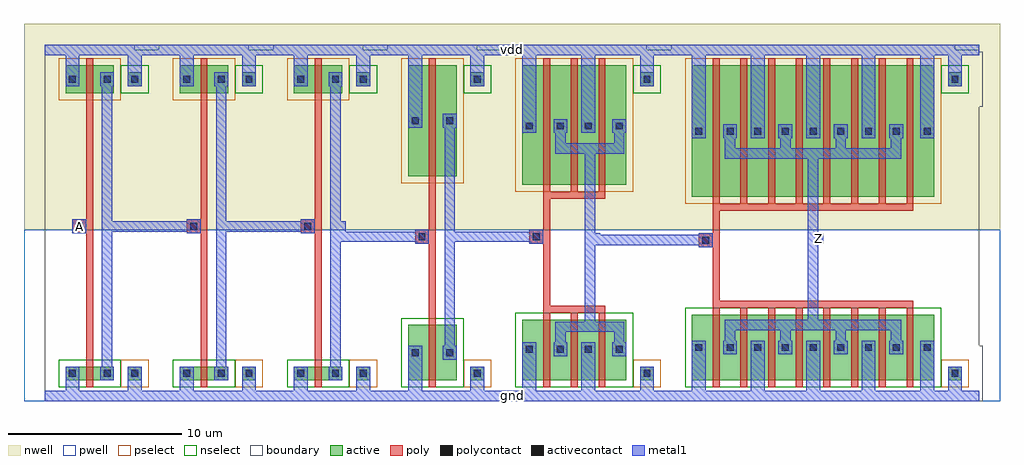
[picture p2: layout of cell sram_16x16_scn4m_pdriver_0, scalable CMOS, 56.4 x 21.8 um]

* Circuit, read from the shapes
.subckt sram_16x16_scn4m_pdriver_0 A Z gnd vdd
M1 sram_16x16_scn4m_pinv_5_1/A A gnd gnd nfet w=0.8u l=0.4u
M2 sram_16x16_scn4m_pinv_5_2/A sram_16x16_scn4m_pinv_5_1/A gnd gnd nfet w=0.8u l=0.4u
M3 sram_16x16_scn4m_pinv_6_3/A sram_16x16_scn4m_pinv_5_2/A gnd gnd nfet w=0.8u l=0.4u
M4 sram_16x16_scn4m_pinv_7_4/A sram_16x16_scn4m_pinv_6_3/A gnd gnd nfet w=3.2u l=0.4u
M5 sram_16x16_scn4m_pinv_8_5/A sram_16x16_scn4m_pinv_7_4/A gnd gnd nfet w=3.5u l=0.4u m=3
M6 Z sram_16x16_scn4m_pinv_8_5/A gnd gnd nfet w=3.8u l=0.4u m=8
M7 sram_16x16_scn4m_pinv_5_1/A A vdd vdd pfet w=1.6u l=0.4u
M8 sram_16x16_scn4m_pinv_5_2/A sram_16x16_scn4m_pinv_5_1/A vdd vdd pfet w=1.6u l=0.4u
M9 sram_16x16_scn4m_pinv_6_3/A sram_16x16_scn4m_pinv_5_2/A vdd vdd pfet w=1.6u l=0.4u
M10 sram_16x16_scn4m_pinv_7_4/A sram_16x16_scn4m_pinv_6_3/A vdd vdd pfet w=6.4u l=0.4u
M11 sram_16x16_scn4m_pinv_8_5/A sram_16x16_scn4m_pinv_7_4/A vdd vdd pfet w=6.9u l=0.4u m=3
M12 Z sram_16x16_scn4m_pinv_8_5/A vdd vdd pfet w=7.6u l=0.4u m=8
.ends

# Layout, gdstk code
import gdstk
lib = gdstk.Library(unit=1e-6, precision=1e-09)
def R(c, l, rs):  # rectangles x0, y0, x1, y1
    for r in rs: c.add(gdstk.rectangle(r[:2], r[2:], *l))
def A(c, l, x, y, w, h, nx, ny, dx, dy):  # array of equal rectangles
    R(c, l, [(x+i*dx, y+j*dy, x+i*dx+w, y+j*dy+h) for i in range(nx) for j in range(ny)])
pwell = (41, 0)
nwell = (42, 0)
active = (43, 0)
pselect = (44, 0)
nselect = (45, 0)
poly = (46, 0)
polycontact = (47, 0)
activecontact = (48, 0)
metal1 = (49, 0)
boundary = (63, 0)

sram_16x16_scn4m_contact = lib.new_cell('sram_16x16_scn4m_contact_12')
R(sram_16x16_scn4m_contact, nwell, [(-1.2,-1.2,2,2)])
R(sram_16x16_scn4m_contact, active, [(0,0,0.8,0.8)])
R(sram_16x16_scn4m_contact, pselect, [(-0.4,-0.4,1.2,1.2)])
R(sram_16x16_scn4m_contact, activecontact, [(0.2,0.2,0.6,0.6)])
R(sram_16x16_scn4m_contact, metal1, [(0,0,0.8,0.8)])
R(sram_16x16_scn4m_contact, boundary, [(-1.2,-1.2,2,2)])

sram_16x16_scn4m_pmos_m1 = lib.new_cell('sram_16x16_scn4m_pmos_m1_w1_600_sm1_dm1_da_p')
R(sram_16x16_scn4m_pmos_m1, nwell, [(-1.2,-1.2,4,2.8)])
R(sram_16x16_scn4m_pmos_m1, active, [(0,0,2.8,1.6)])
R(sram_16x16_scn4m_pmos_m1, pselect, [(-0.4,-0.4,3.2,2)])
R(sram_16x16_scn4m_pmos_m1, poly, [(1.2,-0.4,1.6,2), (1.2,-0.4,1.6,2)])
R(sram_16x16_scn4m_pmos_m1, metal1, [(0,0.4,0.8,1.2), (2,0.4,2.8,1.2)])
R(sram_16x16_scn4m_pmos_m1, boundary, [(-1.2,-1.2,4,2.8)])
sram_16x16_scn4m_pmos_m1.add(gdstk.Reference(sram_16x16_scn4m_contact, (0,0.4)))
sram_16x16_scn4m_pmos_m1.add(gdstk.Reference(sram_16x16_scn4m_contact, (2,0.4)))
sram_16x16_scn4m_pmos_m1.add(gdstk.Label('G', (1.4,0.8), layer=46, texttype=0))
sram_16x16_scn4m_pmos_m1.add(gdstk.Label('S', (0.4,0.8), layer=49, texttype=0))
sram_16x16_scn4m_pmos_m1.add(gdstk.Label('D', (2.4,0.8), layer=49, texttype=0))

c_sram_16x16_scn4m_contact = lib.new_cell('sram_16x16_scn4m_contact_11')
R(c_sram_16x16_scn4m_contact, pwell, [(-1.2,-1.2,2,2)])
R(c_sram_16x16_scn4m_contact, active, [(0,0,0.8,0.8)])
R(c_sram_16x16_scn4m_contact, nselect, [(-0.4,-0.4,1.2,1.2)])
R(c_sram_16x16_scn4m_contact, activecontact, [(0.2,0.2,0.6,0.6)])
R(c_sram_16x16_scn4m_contact, metal1, [(0,0,0.8,0.8)])
R(c_sram_16x16_scn4m_contact, boundary, [(-1.2,-1.2,2,2)])

sram_16x16_scn4m_nmos_m1 = lib.new_cell('sram_16x16_scn4m_nmos_m1_w0_800_sm1_dm1_da_p')
R(sram_16x16_scn4m_nmos_m1, pwell, [(-1.2,-1.2,4,2)])
R(sram_16x16_scn4m_nmos_m1, active, [(0,0,2.8,0.8)])
R(sram_16x16_scn4m_nmos_m1, nselect, [(-0.4,-0.4,3.2,1.2)])
R(sram_16x16_scn4m_nmos_m1, poly, [(1.2,-0.4,1.6,1.2), (1.2,-0.4,1.6,1.2)])
R(sram_16x16_scn4m_nmos_m1, metal1, [(0,0,0.8,0.8), (2,0,2.8,0.8)])
R(sram_16x16_scn4m_nmos_m1, boundary, [(-1.2,-1.2,4,2)])
sram_16x16_scn4m_nmos_m1.add(gdstk.Reference(c_sram_16x16_scn4m_contact, (0,0)))
sram_16x16_scn4m_nmos_m1.add(gdstk.Reference(c_sram_16x16_scn4m_contact, (2,0)))
sram_16x16_scn4m_nmos_m1.add(gdstk.Label('G', (1.4,0.4), layer=46, texttype=0))
sram_16x16_scn4m_nmos_m1.add(gdstk.Label('S', (0.4,0.4), layer=49, texttype=0))
sram_16x16_scn4m_nmos_m1.add(gdstk.Label('D', (2.4,0.4), layer=49, texttype=0))

c_sram_16x16_scn4m_contact_ = lib.new_cell('sram_16x16_scn4m_contact_13')
R(c_sram_16x16_scn4m_contact_, nwell, [(-1.2,-1.2,2,2)])
R(c_sram_16x16_scn4m_contact_, active, [(0,0,0.8,0.8)])
R(c_sram_16x16_scn4m_contact_, nselect, [(-0.4,-0.4,1.2,1.2)])
R(c_sram_16x16_scn4m_contact_, activecontact, [(0.2,0.2,0.6,0.6)])
R(c_sram_16x16_scn4m_contact_, metal1, [(0,0,0.8,0.8)])
R(c_sram_16x16_scn4m_contact_, boundary, [(-1.2,-1.2,2,2)])

c_sram_16x16_scn4m_contact__ = lib.new_cell('sram_16x16_scn4m_contact_14')
R(c_sram_16x16_scn4m_contact__, pwell, [(-1.2,-1.2,2,2)])
R(c_sram_16x16_scn4m_contact__, active, [(0,0,0.8,0.8)])
R(c_sram_16x16_scn4m_contact__, pselect, [(-0.4,-0.4,1.2,1.2)])
R(c_sram_16x16_scn4m_contact__, activecontact, [(0.2,0.2,0.6,0.6)])
R(c_sram_16x16_scn4m_contact__, metal1, [(0,0,0.8,0.8)])
R(c_sram_16x16_scn4m_contact__, boundary, [(-1.2,-1.2,2,2)])

c_sram_16x16_scn4m_contact___ = lib.new_cell('sram_16x16_scn4m_contact_15')
R(c_sram_16x16_scn4m_contact___, poly, [(0,0,0.8,0.8)])
R(c_sram_16x16_scn4m_contact___, polycontact, [(0.2,0.2,0.6,0.6)])
R(c_sram_16x16_scn4m_contact___, metal1, [(0,0,0.8,0.8)])
R(c_sram_16x16_scn4m_contact___, boundary, [(0,0,0.8,0.8)])

sram_16x16_scn4m_pinv_5 = lib.new_cell('sram_16x16_scn4m_pinv_5')
R(sram_16x16_scn4m_pinv_5, pwell, [(-1.2,-0.3,7.8,9.6)])
R(sram_16x16_scn4m_pinv_5, nwell, [(-1.2,9.6,7.8,21.5)])
R(sram_16x16_scn4m_pinv_5, poly, [(2.4,2.1,2.8,17.1), (2,9.4,2.4,10.2)])
R(sram_16x16_scn4m_pinv_5, metal1, [(0,-0.3,6.6,0.3), (1.2,-0.3,2,0.9), (4.8,0,5.6,1.3), (3.3,0.9,3.9,18.7), (1.6,9.4,2.4,10.2), (3.6,9.5,4.2,10.1), (1.2,17.9,2,20.3), (4.8,18.3,5.6,20), (0,19.7,6.6,20.3)])
R(sram_16x16_scn4m_pinv_5, boundary, [(0,0,6.6,20), (0,0,6.6,20)])
sram_16x16_scn4m_pinv_5.add(gdstk.Reference(sram_16x16_scn4m_pmos_m1, (1.2,17.5)))
sram_16x16_scn4m_pinv_5.add(gdstk.Reference(sram_16x16_scn4m_nmos_m1, (1.2,0.9)))
sram_16x16_scn4m_pinv_5.add(gdstk.Reference(c_sram_16x16_scn4m_contact_, (4.8,17.9)))
sram_16x16_scn4m_pinv_5.add(gdstk.Reference(c_sram_16x16_scn4m_contact__, (4.8,0.9)))
sram_16x16_scn4m_pinv_5.add(gdstk.Reference(c_sram_16x16_scn4m_contact___, (1.6,9.4)))
sram_16x16_scn4m_pinv_5.add(gdstk.Label('A', (2,9.8), layer=49, texttype=0))
sram_16x16_scn4m_pinv_5.add(gdstk.Label('Z', (3.9,9.8), layer=49, texttype=0))
sram_16x16_scn4m_pinv_5.add(gdstk.Label('gnd', (3.3,0), layer=49, texttype=0))
sram_16x16_scn4m_pinv_5.add(gdstk.Label('vdd', (3.3,20), layer=49, texttype=0))

c_sram_16x16_scn4m_pmos_m1 = lib.new_cell('sram_16x16_scn4m_pmos_m1_w6_400_sm1_dm1_da_p')
R(c_sram_16x16_scn4m_pmos_m1, nwell, [(-1.2,-1.2,4,7.6)])
R(c_sram_16x16_scn4m_pmos_m1, active, [(0,0,2.8,6.4)])
R(c_sram_16x16_scn4m_pmos_m1, pselect, [(-0.4,-0.4,3.2,6.8)])
R(c_sram_16x16_scn4m_pmos_m1, poly, [(1.2,-0.4,1.6,6.8), (1.2,-0.4,1.6,6.8)])
R(c_sram_16x16_scn4m_pmos_m1, metal1, [(0,2.8,0.8,3.6), (2,2.8,2.8,3.6)])
R(c_sram_16x16_scn4m_pmos_m1, boundary, [(-1.2,-1.2,4,7.6)])
c_sram_16x16_scn4m_pmos_m1.add(gdstk.Reference(sram_16x16_scn4m_contact, (0,2.8)))
c_sram_16x16_scn4m_pmos_m1.add(gdstk.Reference(sram_16x16_scn4m_contact, (2,2.8)))
c_sram_16x16_scn4m_pmos_m1.add(gdstk.Label('G', (1.4,3.2), layer=46, texttype=0))
c_sram_16x16_scn4m_pmos_m1.add(gdstk.Label('S', (0.4,3.2), layer=49, texttype=0))
c_sram_16x16_scn4m_pmos_m1.add(gdstk.Label('D', (2.4,3.2), layer=49, texttype=0))

c_sram_16x16_scn4m_nmos_m1 = lib.new_cell('sram_16x16_scn4m_nmos_m1_w3_200_sm1_dm1_da_p')
R(c_sram_16x16_scn4m_nmos_m1, pwell, [(-1.2,-1.2,4,4.4)])
R(c_sram_16x16_scn4m_nmos_m1, active, [(0,0,2.8,3.2)])
R(c_sram_16x16_scn4m_nmos_m1, nselect, [(-0.4,-0.4,3.2,3.6)])
R(c_sram_16x16_scn4m_nmos_m1, poly, [(1.2,-0.4,1.6,3.6), (1.2,-0.4,1.6,3.6)])
R(c_sram_16x16_scn4m_nmos_m1, metal1, [(0,1.2,0.8,2), (2,1.2,2.8,2)])
R(c_sram_16x16_scn4m_nmos_m1, boundary, [(-1.2,-1.2,4,4.4)])
c_sram_16x16_scn4m_nmos_m1.add(gdstk.Reference(c_sram_16x16_scn4m_contact, (0,1.2)))
c_sram_16x16_scn4m_nmos_m1.add(gdstk.Reference(c_sram_16x16_scn4m_contact, (2,1.2)))
c_sram_16x16_scn4m_nmos_m1.add(gdstk.Label('G', (1.4,1.6), layer=46, texttype=0))
c_sram_16x16_scn4m_nmos_m1.add(gdstk.Label('S', (0.4,1.6), layer=49, texttype=0))
c_sram_16x16_scn4m_nmos_m1.add(gdstk.Label('D', (2.4,1.6), layer=49, texttype=0))

sram_16x16_scn4m_pinv_6 = lib.new_cell('sram_16x16_scn4m_pinv_6')
R(sram_16x16_scn4m_pinv_6, pwell, [(-1.2,-0.3,7.8,9.6)])
R(sram_16x16_scn4m_pinv_6, nwell, [(-1.2,9.6,7.8,21.5)])
R(sram_16x16_scn4m_pinv_6, poly, [(2.4,4.5,2.8,12.3), (2,8.8,2.4,9.6)])
R(sram_16x16_scn4m_pinv_6, metal1, [(0,-0.3,6.6,0.3), (1.2,-0.3,2,2.1), (4.8,0,5.6,1.3), (3.3,2.1,3.9,16.3), (1.6,8.8,2.4,9.6), (3.6,8.9,4.2,9.5), (1.2,15.5,2,20.3), (4.8,18.3,5.6,20), (0,19.7,6.6,20.3)])
R(sram_16x16_scn4m_pinv_6, boundary, [(0,0,6.6,20), (0,0,6.6,20)])
sram_16x16_scn4m_pinv_6.add(gdstk.Reference(c_sram_16x16_scn4m_pmos_m1, (1.2,12.7)))
sram_16x16_scn4m_pinv_6.add(gdstk.Reference(c_sram_16x16_scn4m_nmos_m1, (1.2,0.9)))
sram_16x16_scn4m_pinv_6.add(gdstk.Reference(c_sram_16x16_scn4m_contact_, (4.8,17.9)))
sram_16x16_scn4m_pinv_6.add(gdstk.Reference(c_sram_16x16_scn4m_contact__, (4.8,0.9)))
sram_16x16_scn4m_pinv_6.add(gdstk.Reference(c_sram_16x16_scn4m_contact___, (1.6,8.8)))
sram_16x16_scn4m_pinv_6.add(gdstk.Label('A', (2,9.2), layer=49, texttype=0))
sram_16x16_scn4m_pinv_6.add(gdstk.Label('Z', (3.9,9.2), layer=49, texttype=0))
sram_16x16_scn4m_pinv_6.add(gdstk.Label('gnd', (3.3,0), layer=49, texttype=0))
sram_16x16_scn4m_pinv_6.add(gdstk.Label('vdd', (3.3,20), layer=49, texttype=0))

sram_16x16_scn4m_pmos_m3 = lib.new_cell('sram_16x16_scn4m_pmos_m3_w6_900_sm1_dm1_da_p')
R(sram_16x16_scn4m_pmos_m3, nwell, [(-1.2,-1.2,7.2,8.1)])
R(sram_16x16_scn4m_pmos_m3, active, [(0,0,6,6.9)])
R(sram_16x16_scn4m_pmos_m3, pselect, [(-0.4,-0.4,6.4,7.3)])
A(sram_16x16_scn4m_pmos_m3, poly, 1.2, -0.4, 0.4, 7.7, 3, 1, 1.6, 0)
R(sram_16x16_scn4m_pmos_m3, poly, [(1.2,-0.8,4.8,-0.4)])
R(sram_16x16_scn4m_pmos_m3, metal1, [(1.9,1.8,5.9,2.4), (1.9,2.2,2.5,3.4), (5.3,2.2,5.9,3.4), (0,3,0.8,3.8), (3.4,3,4.2,3.8)])
R(sram_16x16_scn4m_pmos_m3, boundary, [(-1.2,-1.2,7.2,8.1)])
sram_16x16_scn4m_pmos_m3.add(gdstk.Reference(sram_16x16_scn4m_contact, (0,3)))
sram_16x16_scn4m_pmos_m3.add(gdstk.Reference(sram_16x16_scn4m_contact, (1.8,3)))
sram_16x16_scn4m_pmos_m3.add(gdstk.Reference(sram_16x16_scn4m_contact, (3.4,3)))
sram_16x16_scn4m_pmos_m3.add(gdstk.Reference(sram_16x16_scn4m_contact, (5.2,3)))
sram_16x16_scn4m_pmos_m3.add(gdstk.Label('G', (3,-0.6), layer=46, texttype=0))
sram_16x16_scn4m_pmos_m3.add(gdstk.Label('S', (0.4,3.4), layer=49, texttype=0))
sram_16x16_scn4m_pmos_m3.add(gdstk.Label('S', (3.8,3.4), layer=49, texttype=0))
sram_16x16_scn4m_pmos_m3.add(gdstk.Label('D', (3.9,2.1), layer=49, texttype=0))

sram_16x16_scn4m_nmos_m3 = lib.new_cell('sram_16x16_scn4m_nmos_m3_w3_500_sm1_dm1_da_p')
R(sram_16x16_scn4m_nmos_m3, pwell, [(-1.2,-1.2,7.2,4.7)])
R(sram_16x16_scn4m_nmos_m3, active, [(0,0,6,3.5)])
R(sram_16x16_scn4m_nmos_m3, nselect, [(-0.4,-0.4,6.4,3.9)])
A(sram_16x16_scn4m_nmos_m3, poly, 1.2, -0.4, 0.4, 4.3, 3, 1, 1.6, 0)
R(sram_16x16_scn4m_nmos_m3, poly, [(1.2,3.9,4.8,4.3)])
R(sram_16x16_scn4m_nmos_m3, metal1, [(0,1.4,0.8,2.2), (3.4,1.4,4.2,2.2), (1.9,1.8,2.5,3), (5.3,1.8,5.9,3), (1.9,2.8,5.9,3.4)])
R(sram_16x16_scn4m_nmos_m3, boundary, [(-1.2,-1.2,7.2,4.7)])
sram_16x16_scn4m_nmos_m3.add(gdstk.Reference(c_sram_16x16_scn4m_contact, (0,1.4)))
sram_16x16_scn4m_nmos_m3.add(gdstk.Reference(c_sram_16x16_scn4m_contact, (1.8,1.4)))
sram_16x16_scn4m_nmos_m3.add(gdstk.Reference(c_sram_16x16_scn4m_contact, (3.4,1.4)))
sram_16x16_scn4m_nmos_m3.add(gdstk.Reference(c_sram_16x16_scn4m_contact, (5.2,1.4)))
sram_16x16_scn4m_nmos_m3.add(gdstk.Label('G', (3,4.1), layer=46, texttype=0))
sram_16x16_scn4m_nmos_m3.add(gdstk.Label('S', (0.4,1.8), layer=49, texttype=0))
sram_16x16_scn4m_nmos_m3.add(gdstk.Label('S', (3.8,1.8), layer=49, texttype=0))
sram_16x16_scn4m_nmos_m3.add(gdstk.Label('D', (3.9,3.1), layer=49, texttype=0))

sram_16x16_scn4m_pinv_7 = lib.new_cell('sram_16x16_scn4m_pinv_7')
R(sram_16x16_scn4m_pinv_7, pwell, [(-1.2,-0.3,11,9.6)])
R(sram_16x16_scn4m_pinv_7, nwell, [(-1.2,9.6,11,21.5)])
R(sram_16x16_scn4m_pinv_7, poly, [(2.4,5.2,2.8,11.4), (2,8.8,2.4,9.6)])
R(sram_16x16_scn4m_pinv_7, metal1, [(0,-0.3,9.8,0.3), (1.2,-0.3,2,2.3), (4.6,-0.3,5.4,2.3), (8,0,8.8,1.3), (4.8,3.7,5.4,14.6), (1.6,8.8,2.4,9.6), (5.1,8.8,5.7,9.4), (1.2,15.2,2,20.3), (4.6,15.2,5.4,20.3), (8,18.3,8.8,20), (0,19.7,9.8,20.3)])
R(sram_16x16_scn4m_pinv_7, boundary, [(0,0,9.8,20), (0,0,9.8,20)])
sram_16x16_scn4m_pinv_7.add(gdstk.Reference(sram_16x16_scn4m_pmos_m3, (1.2,12.2)))
sram_16x16_scn4m_pinv_7.add(gdstk.Reference(sram_16x16_scn4m_nmos_m3, (1.2,0.9)))
sram_16x16_scn4m_pinv_7.add(gdstk.Reference(c_sram_16x16_scn4m_contact_, (8,17.9)))
sram_16x16_scn4m_pinv_7.add(gdstk.Reference(c_sram_16x16_scn4m_contact__, (8,0.9)))
sram_16x16_scn4m_pinv_7.add(gdstk.Reference(c_sram_16x16_scn4m_contact___, (1.6,8.8)))
sram_16x16_scn4m_pinv_7.add(gdstk.Label('A', (2,9.2), layer=49, texttype=0))
sram_16x16_scn4m_pinv_7.add(gdstk.Label('Z', (5.4,9.1), layer=49, texttype=0))
sram_16x16_scn4m_pinv_7.add(gdstk.Label('gnd', (4.9,0), layer=49, texttype=0))
sram_16x16_scn4m_pinv_7.add(gdstk.Label('vdd', (4.9,20), layer=49, texttype=0))

sram_16x16_scn4m_pmos_m8 = lib.new_cell('sram_16x16_scn4m_pmos_m8_w7_600_sm1_dm1_da_p')
R(sram_16x16_scn4m_pmos_m8, nwell, [(-1.2,-1.2,15.2,8.8)])
R(sram_16x16_scn4m_pmos_m8, active, [(0,0,14,7.6)])
R(sram_16x16_scn4m_pmos_m8, pselect, [(-0.4,-0.4,14.4,8)])
A(sram_16x16_scn4m_pmos_m8, poly, 1.2, -0.4, 0.4, 8.4, 8, 1, 1.6, 0)
R(sram_16x16_scn4m_pmos_m8, poly, [(1.2,-0.8,12.8,-0.4)])
A(sram_16x16_scn4m_pmos_m8, metal1, 1.9, 2.5, 0.6, 1.3, 4, 1, 3.2, 0)
A(sram_16x16_scn4m_pmos_m8, metal1, 3.4, 3.4, 0.8, 0.8, 3, 1, 3.2, 0)
R(sram_16x16_scn4m_pmos_m8, metal1, [(1.9,2.2,12.1,2.8), (0,3.4,0.8,4.2), (13.2,3.4,14,4.2)])
R(sram_16x16_scn4m_pmos_m8, boundary, [(-1.2,-1.2,15.2,8.8)])
sram_16x16_scn4m_pmos_m8.add(gdstk.Reference(sram_16x16_scn4m_contact, (0,3.4)))
sram_16x16_scn4m_pmos_m8.add(gdstk.Reference(sram_16x16_scn4m_contact, (1.8,3.4)))
sram_16x16_scn4m_pmos_m8.add(gdstk.Reference(sram_16x16_scn4m_contact, (3.4,3.4)))
sram_16x16_scn4m_pmos_m8.add(gdstk.Reference(sram_16x16_scn4m_contact, (5,3.4)))
sram_16x16_scn4m_pmos_m8.add(gdstk.Reference(sram_16x16_scn4m_contact, (6.6,3.4)))
sram_16x16_scn4m_pmos_m8.add(gdstk.Reference(sram_16x16_scn4m_contact, (8.2,3.4)))
sram_16x16_scn4m_pmos_m8.add(gdstk.Reference(sram_16x16_scn4m_contact, (9.8,3.4)))
sram_16x16_scn4m_pmos_m8.add(gdstk.Reference(sram_16x16_scn4m_contact, (11.4,3.4)))
sram_16x16_scn4m_pmos_m8.add(gdstk.Reference(sram_16x16_scn4m_contact, (13.2,3.4)))
sram_16x16_scn4m_pmos_m8.add(gdstk.Label('G', (7,-0.6), layer=46, texttype=0))
sram_16x16_scn4m_pmos_m8.add(gdstk.Label('S', (13.6,3.8), layer=49, texttype=0))
sram_16x16_scn4m_pmos_m8.add(gdstk.Label('S', (10.2,3.8), layer=49, texttype=0))
sram_16x16_scn4m_pmos_m8.add(gdstk.Label('S', (7,3.8), layer=49, texttype=0))
sram_16x16_scn4m_pmos_m8.add(gdstk.Label('S', (3.8,3.8), layer=49, texttype=0))
sram_16x16_scn4m_pmos_m8.add(gdstk.Label('S', (0.4,3.8), layer=49, texttype=0))
sram_16x16_scn4m_pmos_m8.add(gdstk.Label('D', (7,2.5), layer=49, texttype=0))

sram_16x16_scn4m_nmos_m8 = lib.new_cell('sram_16x16_scn4m_nmos_m8_w3_800_sm1_dm1_da_p')
R(sram_16x16_scn4m_nmos_m8, pwell, [(-1.2,-1.2,15.2,5)])
R(sram_16x16_scn4m_nmos_m8, active, [(0,0,14,3.8)])
R(sram_16x16_scn4m_nmos_m8, nselect, [(-0.4,-0.4,14.4,4.2)])
A(sram_16x16_scn4m_nmos_m8, poly, 1.2, -0.4, 0.4, 4.6, 8, 1, 1.6, 0)
R(sram_16x16_scn4m_nmos_m8, poly, [(1.2,4.2,12.8,4.6)])
A(sram_16x16_scn4m_nmos_m8, metal1, 3.4, 1.5, 0.8, 0.8, 3, 1, 3.2, 0)
A(sram_16x16_scn4m_nmos_m8, metal1, 1.9, 1.9, 0.6, 1.3, 4, 1, 3.2, 0)
R(sram_16x16_scn4m_nmos_m8, metal1, [(0,1.5,0.8,2.3), (13.2,1.5,14,2.3), (1.9,2.9,12.1,3.5)])
R(sram_16x16_scn4m_nmos_m8, boundary, [(-1.2,-1.2,15.2,5)])
sram_16x16_scn4m_nmos_m8.add(gdstk.Reference(c_sram_16x16_scn4m_contact, (0,1.5)))
sram_16x16_scn4m_nmos_m8.add(gdstk.Reference(c_sram_16x16_scn4m_contact, (1.8,1.5)))
sram_16x16_scn4m_nmos_m8.add(gdstk.Reference(c_sram_16x16_scn4m_contact, (3.4,1.5)))
sram_16x16_scn4m_nmos_m8.add(gdstk.Reference(c_sram_16x16_scn4m_contact, (5,1.5)))
sram_16x16_scn4m_nmos_m8.add(gdstk.Reference(c_sram_16x16_scn4m_contact, (6.6,1.5)))
sram_16x16_scn4m_nmos_m8.add(gdstk.Reference(c_sram_16x16_scn4m_contact, (8.2,1.5)))
sram_16x16_scn4m_nmos_m8.add(gdstk.Reference(c_sram_16x16_scn4m_contact, (9.8,1.5)))
sram_16x16_scn4m_nmos_m8.add(gdstk.Reference(c_sram_16x16_scn4m_contact, (11.4,1.5)))
sram_16x16_scn4m_nmos_m8.add(gdstk.Reference(c_sram_16x16_scn4m_contact, (13.2,1.5)))
sram_16x16_scn4m_nmos_m8.add(gdstk.Label('G', (7,4.4), layer=46, texttype=0))
sram_16x16_scn4m_nmos_m8.add(gdstk.Label('S', (10.2,1.9), layer=49, texttype=0))
sram_16x16_scn4m_nmos_m8.add(gdstk.Label('S', (7,1.9), layer=49, texttype=0))
sram_16x16_scn4m_nmos_m8.add(gdstk.Label('S', (3.8,1.9), layer=49, texttype=0))
sram_16x16_scn4m_nmos_m8.add(gdstk.Label('S', (13.6,1.9), layer=49, texttype=0))
sram_16x16_scn4m_nmos_m8.add(gdstk.Label('S', (0.4,1.9), layer=49, texttype=0))
sram_16x16_scn4m_nmos_m8.add(gdstk.Label('D', (7,3.2), layer=49, texttype=0))

sram_16x16_scn4m_pinv_8 = lib.new_cell('sram_16x16_scn4m_pinv_8')
R(sram_16x16_scn4m_pinv_8, pwell, [(-1.2,-0.3,19,9.6)])
R(sram_16x16_scn4m_pinv_8, nwell, [(-1.2,9.6,19,21.5)])
R(sram_16x16_scn4m_pinv_8, poly, [(2.4,5.5,2.8,10.7), (2,8.6,2.4,9.4)])
A(sram_16x16_scn4m_pinv_8, metal1, 4.6, -0.3, 0.8, 2.7, 3, 1, 3.2, 0)
A(sram_16x16_scn4m_pinv_8, metal1, 4.6, 14.9, 0.8, 5.4, 3, 1, 3.2, 0)
R(sram_16x16_scn4m_pinv_8, metal1, [(0,-0.3,17.8,0.3), (1.2,-0.3,2,2.4), (14.4,-0.3,15.2,2.4), (16,0,16.8,1.3), (7.9,3.8,8.5,14.3), (1.6,8.6,2.4,9.4), (8.2,8.8,8.8,9.4), (1.2,14.9,2,20.3), (14.4,14.9,15.2,20.3), (16,18.3,16.8,20), (0,19.7,17.8,20.3)])
R(sram_16x16_scn4m_pinv_8, boundary, [(0,0,17.8,20), (0,0,17.8,20)])
sram_16x16_scn4m_pinv_8.add(gdstk.Reference(sram_16x16_scn4m_pmos_m8, (1.2,11.5)))
sram_16x16_scn4m_pinv_8.add(gdstk.Reference(sram_16x16_scn4m_nmos_m8, (1.2,0.9)))
sram_16x16_scn4m_pinv_8.add(gdstk.Reference(c_sram_16x16_scn4m_contact_, (16,17.9)))
sram_16x16_scn4m_pinv_8.add(gdstk.Reference(c_sram_16x16_scn4m_contact__, (16,0.9)))
sram_16x16_scn4m_pinv_8.add(gdstk.Reference(c_sram_16x16_scn4m_contact___, (1.6,8.6)))
sram_16x16_scn4m_pinv_8.add(gdstk.Label('A', (2,9), layer=49, texttype=0))
sram_16x16_scn4m_pinv_8.add(gdstk.Label('Z', (8.5,9.1), layer=49, texttype=0))
sram_16x16_scn4m_pinv_8.add(gdstk.Label('gnd', (8.9,0), layer=49, texttype=0))
sram_16x16_scn4m_pinv_8.add(gdstk.Label('vdd', (8.9,20), layer=49, texttype=0))

sram_16x16_scn4m_pdriver = lib.new_cell('sram_16x16_scn4m_pdriver_0')
R(sram_16x16_scn4m_pdriver, pwell, [(-1.2,-0.3,55.2,9.6)])
R(sram_16x16_scn4m_pdriver, nwell, [(-1.2,9.6,55.2,21.5)])
R(sram_16x16_scn4m_pdriver, metal1, [(0,-0.3,54,0.3), (31.5,8.7,32.1,9.3), (31.8,8.7,38.2,9.3), (44.4,8.8,45,9.4), (16.8,8.9,17.4,9.5), (17.1,8.9,21.8,9.5), (23.7,8.9,28.4,9.5), (31.5,9,32.1,9.1), (16.8,9.2,17.4,9.8), (1.6,9.4,2.4,10.2), (3.9,9.5,8.6,10.1), (10.5,9.5,15.2,10.1), (0,19.7,54,20.3)])
R(sram_16x16_scn4m_pdriver, boundary, [(0,0,54,20), (0,0,54,20)])
sram_16x16_scn4m_pdriver.add(gdstk.Reference(sram_16x16_scn4m_pinv_5, (0,0)))
sram_16x16_scn4m_pdriver.add(gdstk.Reference(sram_16x16_scn4m_pinv_5, (6.6,0)))
sram_16x16_scn4m_pdriver.add(gdstk.Reference(sram_16x16_scn4m_pinv_5, (13.2,0)))
sram_16x16_scn4m_pdriver.add(gdstk.Reference(sram_16x16_scn4m_pinv_6, (19.8,0)))
sram_16x16_scn4m_pdriver.add(gdstk.Reference(sram_16x16_scn4m_pinv_7, (26.4,0)))
sram_16x16_scn4m_pdriver.add(gdstk.Reference(sram_16x16_scn4m_pinv_8, (36.2,0)))
sram_16x16_scn4m_pdriver.add(gdstk.Label('Z', (44.7,9.1), layer=49, texttype=0))
sram_16x16_scn4m_pdriver.add(gdstk.Label('A', (2,9.8), layer=49, texttype=0))
sram_16x16_scn4m_pdriver.add(gdstk.Label('gnd', (27,0), layer=49, texttype=0))
sram_16x16_scn4m_pdriver.add(gdstk.Label('vdd', (27,20), layer=49, texttype=0))

lib.write_gds('sram_16x16_scn4m_pdriver_0.gds')
